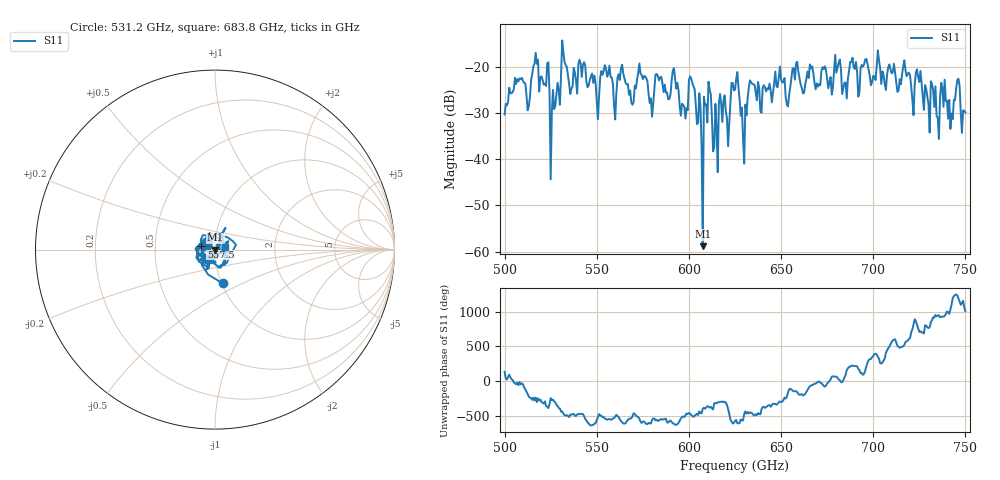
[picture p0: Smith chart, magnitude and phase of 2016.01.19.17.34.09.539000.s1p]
!Created with skrf (http://scikit-rf.org).
# GHz S RI R 50.0
!freq ReS11 ImS11
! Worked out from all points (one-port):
!   401 points, 500 GHz to 750 GHz, reference 50 ohm
!   lowest |S11| = -58.8 dB at 607.5 GHz (marker M1), VSWR 1.00, Z = 50.1 - j0.0672 ohm
!   |S11| at or under -10 dB: start of sweep to end of sweep
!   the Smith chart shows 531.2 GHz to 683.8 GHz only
!   S11 on the Smith chart (normalised r, x): 531.2 GHz: 1.01, -0.39; 557.5 GHz: 0.86, +0.03; 683.8 GHz: 1.12, +0.03
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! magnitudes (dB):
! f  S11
! 500 GHz  -30.3
! 506.9 GHz  -22.6
! 513.1 GHz  -28.5
! 516.9 GHz  -17.0
! 523.1 GHz  -19.3
! 526.2 GHz  -25.0
! 531.2 GHz  -14.3
! 550.6 GHz  -31.4
! 557.5 GHz  -22.2
! 562.5 GHz  -22.9
! 568.8 GHz  -27.7
! 573.1 GHz  -19.3
! 579.4 GHz  -26.8
! 583.1 GHz  -22.0
! 593.8 GHz  -23.5
! 598.1 GHz  -31.2
! 601.9 GHz  -23.5
! 607.5 GHz  -58.8
! 609.4 GHz  -28.2
! 614.4 GHz  -28.0
! 625 GHz  -25.0
! 630 GHz  -41.0
! 633.8 GHz  -23.3
! 656.2 GHz  -20.3
! 683.8 GHz  -24.6
! 687.5 GHz  -19.0
! 718.8 GHz  -21.5
! 750 GHz  -29.9
